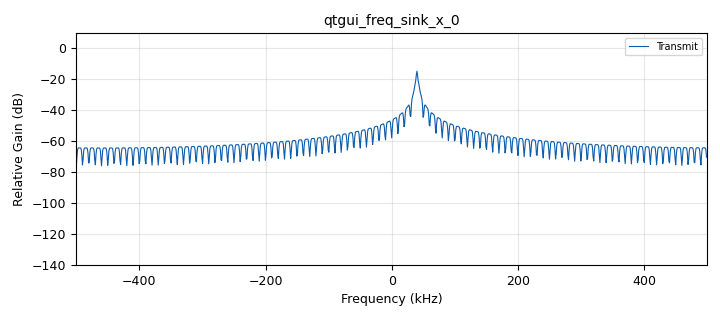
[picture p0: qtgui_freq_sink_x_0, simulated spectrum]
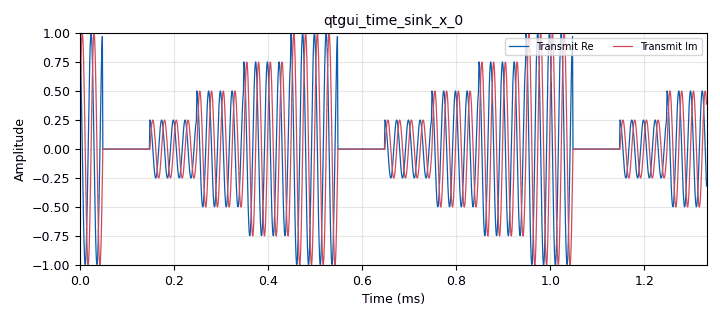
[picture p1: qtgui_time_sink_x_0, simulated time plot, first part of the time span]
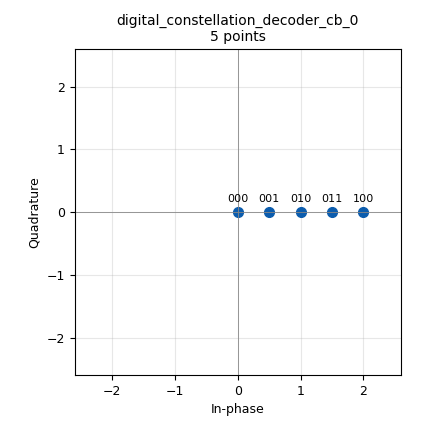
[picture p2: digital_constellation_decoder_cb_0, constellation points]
options:
  parameters:
    author: jason
    generate_options: qt_gui
    generator_class_name: PythonQtGuiGenerator
    generator_module: gnuradio.grc.workflows.python_qt_gui
    id: lesson11_ASK_Pluto_to_RTL_SDR_decode_attempt
    output_language: python
    title: lesson11_ASK_Pluto_to_RTL_SDR
  states: {}

blocks:
- name: center_freq
  id: variable
  parameters:
    value: 915e6
  states: {}
- name: constellation_points
  id: variable
  parameters:
    comment: |-
      See what the points change to 
      due to the secret rescaling?
    value: variable_constellation.points()
  states: {}
- name: rx_gain
  id: variable_qtgui_range
  parameters:
    start: '0'
    step: '1'
    stop: '70'
    value: '10'
  states: {}
- name: samp_rate
  id: variable
  parameters:
    value: '1000000'
  states: {}
- name: sps
  id: variable
  parameters:
    value: '100'
  states: {}
- name: transmit_signal_freq
  id: variable_qtgui_range
  parameters:
    start: '-100e3'
    step: '1'
    stop: 100e3
    value: 40e3
  states: {}
- name: tx_attenuation
  id: variable_qtgui_range
  parameters:
    start: '0'
    step: '1'
    stop: '89'
    value: '10'
  states: {}
- name: variable_constellation
  id: variable_constellation
  parameters:
    comment: |-
      Note that GNUradio secretly re-scales your constellation
      to have an average magnitude of 1. This is really annoying,
      but is meant to work with the AGCs that rescale the signal in this way
    const_points: '[0,0.25,0.5,0.75,1.0]'
    dims: '1'
    normalization: digital.constellation.AMPLITUDE_NORMALIZATION
    precision: '8'
    rot_sym: '4'
    sym_map: '[0, 1, 2, 3, 4]'
    type: calcdist
  states: {}
- name: analog_agc_xx_0
  id: analog_agc_xx
  parameters:
    gain: '1.0'
    max_gain: '65536'
    rate: '1e-4'
    reference: '1.0'
    type: complex
  states: {}
- name: analog_sig_source_x_0
  id: analog_sig_source_x
  parameters:
    amp: '1'
    freq: transmit_signal_freq
    offset: '0'
    phase: '0'
    samp_rate: samp_rate
    type: complex
    waveform: analog.GR_COS_WAVE
  states: {}
- name: blocks_char_to_float_0
  id: blocks_char_to_float
  parameters:
    scale: '1'
  states: {}
- name: blocks_complex_to_mag_0
  id: blocks_complex_to_mag
  parameters: {}
  states: {}
- name: blocks_complex_to_mag_0_0
  id: blocks_complex_to_mag
  parameters: {}
  states: {}
- name: blocks_keep_one_in_n_0
  id: blocks_keep_one_in_n
  parameters:
    comment: N = sps
    n: sps
    type: float
  states: {}
- name: blocks_multiply_xx_0
  id: blocks_multiply_xx
  parameters:
    type: complex
  states: {}
- name: blocks_repeat_0
  id: blocks_repeat
  parameters:
    interp: sps
    type: complex
  states: {}
- name: blocks_vector_source_x_0
  id: blocks_vector_source_x
  parameters:
    repeat: 'True'
    type: complex
    vector: '[0,0.25,0.5,0.75,1.0]'
  states: {}
- name: digital_constellation_decoder_cb_0
  id: digital_constellation_decoder_cb
  parameters:
    constellation: variable_constellation
  states: {}
- name: iio_pluto_sink_0
  id: iio_pluto_sink
  parameters:
    attenuation1: tx_attenuation
    bandwidth: samp_rate
    buffer_size: '32768'
    cyclic: 'False'
    filter_source: '''Auto'''
    frequency: int(center_freq)
    samplerate: samp_rate
    type: fc32
    uri: 192.168.2.1
  states: {}
- name: qtgui_const_sink_x_0
  id: qtgui_const_sink_x
  parameters:
    label1: Receive Raw
    size: '1024'
    type: complex
  states: {}
- name: qtgui_freq_sink_x_0
  id: qtgui_freq_sink_x
  parameters:
    bw: samp_rate
    fc: '0'
    fftsize: '1024'
    label1: Transmit
    type: complex
  states: {}
- name: qtgui_time_sink_x_0
  id: qtgui_time_sink_x
  parameters:
    label1: Transmit Re
    label2: Transmit Im
    size: 1024*8
    srate: samp_rate
    type: complex
  states: {}
- name: qtgui_time_sink_x_0_0
  id: qtgui_time_sink_x
  parameters:
    label1: Receive Raw Re
    label2: Receive Raw Im
    size: 1024*8
    srate: samp_rate
    type: complex
  states: {}
- name: qtgui_time_sink_x_0_0_0
  id: qtgui_time_sink_x
  parameters:
    label1: Receive Mag Keep 1 in N
    marker1: '0'
    size: '1024'
    srate: samp_rate
    type: float
  states: {}
- name: qtgui_time_sink_x_0_0_0_0
  id: qtgui_time_sink_x
  parameters:
    label1: Receive Mag
    marker1: '0'
    size: 1024*8
    srate: samp_rate
    type: float
  states: {}
- name: qtgui_time_sink_x_0_0_0_0_0
  id: qtgui_time_sink_x
  parameters:
    label1: Receive AGC Mag
    marker1: '0'
    size: 1024*8
    srate: samp_rate
    type: float
  states: {}
- name: qtgui_time_sink_x_0_0_0_1
  id: qtgui_time_sink_x
  parameters:
    label1: Decoded
    marker1: '0'
    size: '1024'
    srate: samp_rate
    type: float
  states: {}
- name: rtlsdr_source_0
  id: rtlsdr_source
  parameters:
    bb_gain0: '20'
    freq0: center_freq
    gain0: rx_gain
    gain_mode0: 'False'
    if_gain0: '20'
    sample_rate: samp_rate
    sync: sync
    type: fc32
  states: {}

connections:
- [analog_agc_xx_0, '0', blocks_complex_to_mag_0_0, '0']
- [analog_agc_xx_0, '0', digital_constellation_decoder_cb_0, '0']
- [analog_sig_source_x_0, '0', blocks_multiply_xx_0, '1']
- [blocks_char_to_float_0, '0', qtgui_time_sink_x_0_0_0_1, '0']
- [blocks_complex_to_mag_0, '0', blocks_keep_one_in_n_0, '0']
- [blocks_complex_to_mag_0, '0', qtgui_time_sink_x_0_0_0_0, '0']
- [blocks_complex_to_mag_0_0, '0', qtgui_time_sink_x_0_0_0_0_0, '0']
- [blocks_keep_one_in_n_0, '0', qtgui_time_sink_x_0_0_0, '0']
- [blocks_multiply_xx_0, '0', iio_pluto_sink_0, '0']
- [blocks_multiply_xx_0, '0', qtgui_freq_sink_x_0, '0']
- [blocks_multiply_xx_0, '0', qtgui_time_sink_x_0, '0']
- [blocks_repeat_0, '0', blocks_multiply_xx_0, '0']
- [blocks_vector_source_x_0, '0', blocks_repeat_0, '0']
- [digital_constellation_decoder_cb_0, '0', blocks_char_to_float_0, '0']
- [rtlsdr_source_0, '0', analog_agc_xx_0, '0']
- [rtlsdr_source_0, '0', blocks_complex_to_mag_0, '0']
- [rtlsdr_source_0, '0', qtgui_const_sink_x_0, '0']
- [rtlsdr_source_0, '0', qtgui_time_sink_x_0_0, '0']

metadata:
  file_format: 1
  grc_version: 3.10.12.0
